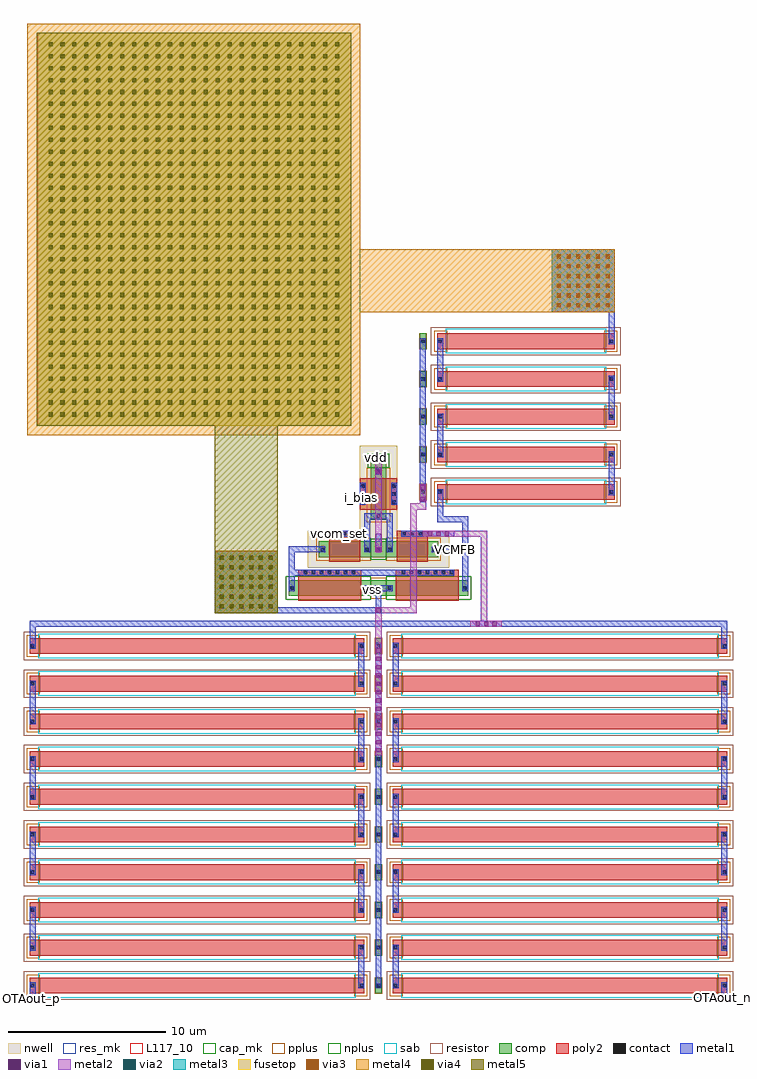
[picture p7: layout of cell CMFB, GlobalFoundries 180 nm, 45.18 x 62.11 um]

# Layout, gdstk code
from math import pi, radians
import gdstk
lib = gdstk.Library(unit=1e-6, precision=1e-09)
def R(c, l, rs):  # rectangles x0, y0, x1, y1
    for r in rs: c.add(gdstk.rectangle(r[:2], r[2:], *l))
def A(c, l, x, y, w, h, nx, ny, dx, dy):  # array of equal rectangles
    R(c, l, [(x+i*dx, y+j*dy, x+i*dx+w, y+j*dy+h) for i in range(nx) for j in range(ny)])
nwell = (21, 0)
comp = (22, 0)
poly2 = (30, 0)
pplus = (31, 0)
nplus = (32, 0)
contact = (33, 0)
metal1 = (34, 0)
via1 = (35, 0)
metal2 = (36, 0)
via2 = (38, 0)
via3 = (40, 0)
via4 = (41, 0)
metal3 = (42, 0)
metal4 = (46, 0)
sab = (49, 0)
resistor = (62, 0)
fusetop = (75, 0)
metal5 = (81, 0)
res_mk = (110, 5)
cap_mk = (117, 5)
L117_10 = (117, 10)

nfet_1_1 = lib.new_cell('nfet$1$1')
R(nfet_1_1, comp, [(-0.42,0,0,1), (0,0,4.38,1), (4.38,0,4.8,1), (4.8,0,5.51,1)])
R(nfet_1_1, poly2, [(0.19,-0.3,4.19,1.3), (0.19,1.3,4.19,1.66)])
R(nfet_1_1, pplus, [(4.8,-0.17,5.68,1.17)])
R(nfet_1_1, nplus, [(-0.59,-0.24,4.8,1.24)])
A(nfet_1_1, contact, 0.55, 1.37, 0.22, 0.22, 7, 1, 0.51, 0)
R(nfet_1_1, contact, [(-0.32,0.39,-0.1,0.61), (4.48,0.39,4.7,0.61), (5.19,0.39,5.41,0.61)])
R(nfet_1_1, metal1, [(-0.4,0.31,-0.02,0.69), (4.4,0.31,4.78,0.69), (5.11,0.31,5.49,0.69), (0.47,1.29,3.91,1.67)])

pfet_2 = lib.new_cell('pfet$2')
R(pfet_2, nwell, [(-1.15,-0.69,4.26,1.69)])
R(pfet_2, comp, [(-0.46,0,0,1), (0,0,2.38,1), (2.38,0,2.84,1), (2.84,0,3.57,1)])
R(pfet_2, poly2, [(0.19,-0.3,2.19,1.3), (0.19,1.3,2.19,1.68)])
R(pfet_2, pplus, [(-0.63,-0.24,2.84,1.24)])
R(pfet_2, nplus, [(2.84,-0.17,3.74,1.17)])
A(pfet_2, contact, 0.57, 1.38, 0.22, 0.22, 3, 1, 0.51, 0)
R(pfet_2, contact, [(-0.34,0.39,-0.12,0.61), (2.5,0.39,2.72,0.61), (3.23,0.39,3.45,0.61)])
R(pfet_2, metal1, [(-0.42,0.31,-0.04,0.69), (2.42,0.31,2.8,0.69), (3.15,0.31,3.53,0.69), (0.49,1.3,1.89,1.68)])

pfet_1_1 = lib.new_cell('pfet$1$1')
R(pfet_1_1, nwell, [(-1.15,-0.69,4.26,1.69)])
R(pfet_1_1, comp, [(-0.46,0,0,1), (0,0,2.38,1), (2.38,0,2.84,1), (2.84,0,3.57,1)])
R(pfet_1_1, poly2, [(0.19,-0.68,2.19,-0.3), (0.19,-0.3,2.19,1.3), (0.19,1.3,2.19,1.68)])
R(pfet_1_1, pplus, [(-0.63,-0.24,2.84,1.24)])
R(pfet_1_1, nplus, [(2.84,-0.17,3.74,1.17)])
A(pfet_1_1, contact, 0.57, -0.6, 0.22, 0.22, 3, 2, 0.51, 1.98)
R(pfet_1_1, contact, [(-0.34,0.39,-0.12,0.61), (2.5,0.39,2.72,0.61), (3.23,0.39,3.45,0.61)])
R(pfet_1_1, metal1, [(0.49,-0.68,1.89,-0.3), (-0.42,0.31,-0.04,0.69), (2.42,0.31,2.8,0.69), (3.15,0.31,3.53,0.69), (0.49,1.3,1.89,1.68)])

via_dev_29_1 = lib.new_cell('via_dev$29$1')
R(via_dev_29_1, metal1, [(0,0,0.4,0.4)])
R(via_dev_29_1, via1, [(0.07,0.07,0.33,0.33)])
R(via_dev_29_1, metal2, [(0,0,0.4,0.4)])

ppolyf_u_high_rs_resisto = lib.new_cell('ppolyf_u_high_Rs_resistor$3')
A(ppolyf_u_high_rs_resisto, comp, -1.76, 0, 0.42, 1, 1, 10, 0, 2.4)
A(ppolyf_u_high_rs_resisto, poly2, -0.64, 0, 21.28, 1, 1, 10, 0, 2.4)
A(ppolyf_u_high_rs_resisto, pplus, -0.82, -0.18, 0.82, 1.36, 1, 10, 0, 2.4)
A(ppolyf_u_high_rs_resisto, pplus, 20, -0.18, 0.82, 1.36, 1, 10, 0, 2.4)
A(ppolyf_u_high_rs_resisto, pplus, -1.78, -0.02, 0.46, 1.04, 1, 10, 0, 2.4)
A(ppolyf_u_high_rs_resisto, contact, -1.66, 0.39, 0.22, 0.22, 1, 10, 0, 2.4)
A(ppolyf_u_high_rs_resisto, contact, -0.57, 0.39, 0.22, 0.22, 1, 10, 0, 2.4)
A(ppolyf_u_high_rs_resisto, contact, 20.35, 0.39, 0.22, 0.22, 1, 10, 0, 2.4)
A(ppolyf_u_high_rs_resisto, metal1, -1.74, 0.31, 0.38, 0.38, 1, 10, 0, 2.4)
A(ppolyf_u_high_rs_resisto, metal1, -0.65, 0.31, 0.38, 0.38, 1, 10, 0, 2.4)
A(ppolyf_u_high_rs_resisto, metal1, 20.27, 0.31, 0.38, 0.38, 1, 10, 0, 2.4)
A(ppolyf_u_high_rs_resisto, sab, -0.1, -0.28, 20.2, 1.56, 1, 10, 0, 2.4)
A(ppolyf_u_high_rs_resisto, resistor, -1.04, -0.4, 22.08, 1.8, 1, 10, 0, 2.4)
A(ppolyf_u_high_rs_resisto, res_mk, 0, 0, 20, 1, 1, 10, 0, 2.4)

via_dev_1 = lib.new_cell('via_dev$1')
R(via_dev_1, metal1, [(0,0,0.4,7)])
A(via_dev_1, via1, 0.07, 0.19, 0.26, 0.26, 1, 13, 0, 0.53)
R(via_dev_1, metal2, [(0,0,0.4,7)])

via_dev_4_1_1 = lib.new_cell('via_dev$4$1$1')
R(via_dev_4_1_1, metal1, [(0,0,2,0.4)])
A(via_dev_4_1_1, via1, 0.34, 0.07, 0.26, 0.26, 3, 1, 0.53, 0)
R(via_dev_4_1_1, metal2, [(0,0,2,0.4)])

c_ppolyf_u_high_rs_resisto = lib.new_cell('ppolyf_u_high_Rs_resistor$2$1$1')
A(c_ppolyf_u_high_rs_resisto, comp, -1.76, 0, 0.42, 1, 1, 5, 0, 2.4)
A(c_ppolyf_u_high_rs_resisto, poly2, -0.64, 0, 11.28, 1, 1, 5, 0, 2.4)
A(c_ppolyf_u_high_rs_resisto, pplus, -0.82, -0.18, 0.82, 1.36, 1, 5, 0, 2.4)
A(c_ppolyf_u_high_rs_resisto, pplus, 10, -0.18, 0.82, 1.36, 1, 5, 0, 2.4)
A(c_ppolyf_u_high_rs_resisto, pplus, -1.78, -0.02, 0.46, 1.04, 1, 5, 0, 2.4)
A(c_ppolyf_u_high_rs_resisto, contact, -1.66, 0.39, 0.22, 0.22, 1, 5, 0, 2.4)
A(c_ppolyf_u_high_rs_resisto, contact, -0.57, 0.39, 0.22, 0.22, 1, 5, 0, 2.4)
A(c_ppolyf_u_high_rs_resisto, contact, 10.35, 0.39, 0.22, 0.22, 1, 5, 0, 2.4)
A(c_ppolyf_u_high_rs_resisto, metal1, -1.74, 0.31, 0.38, 0.38, 1, 5, 0, 2.4)
A(c_ppolyf_u_high_rs_resisto, metal1, -0.65, 0.31, 0.38, 0.38, 1, 5, 0, 2.4)
A(c_ppolyf_u_high_rs_resisto, metal1, 10.27, 0.31, 0.38, 0.38, 1, 5, 0, 2.4)
A(c_ppolyf_u_high_rs_resisto, sab, -0.1, -0.28, 10.2, 1.56, 1, 5, 0, 2.4)
A(c_ppolyf_u_high_rs_resisto, resistor, -1.04, -0.4, 12.08, 1.8, 1, 5, 0, 2.4)
A(c_ppolyf_u_high_rs_resisto, res_mk, 0, 0, 10, 1, 1, 5, 0, 2.4)

cap_mim_4_1 = lib.new_cell('cap_mim$4$1')
A(cap_mim_4_1, via4, 0.59, 0.75, 0.26, 0.26, 32, 25, 0.76, 0.76)
R(cap_mim_4_1, metal4, [(-0.6,-0.6,25.6,20.6)])
R(cap_mim_4_1, fusetop, [(0,0,25,20)])
R(cap_mim_4_1, metal5, [(0,0,25,20)])
R(cap_mim_4_1, cap_mk, [(-0.6,-0.6,25.6,20.6)])
R(cap_mim_4_1, L117_10, [(0,0,25,0.1)])

via_dev_7_1_1 = lib.new_cell('via_dev$7$1$1')
R(via_dev_7_1_1, metal1, [(0,0,4,4)])
A(via_dev_7_1_1, via1, 0.32, 0.32, 0.26, 0.26, 6, 6, 0.62, 0.62)
R(via_dev_7_1_1, metal2, [(0,0,4,4)])
A(via_dev_7_1_1, via2, 0.32, 0.32, 0.26, 0.26, 6, 6, 0.62, 0.62)
A(via_dev_7_1_1, via3, 0.32, 0.32, 0.26, 0.26, 6, 6, 0.62, 0.62)
R(via_dev_7_1_1, metal3, [(0,0,4,4)])
R(via_dev_7_1_1, metal4, [(0,0,4,4)])

via_dev_5_1_1 = lib.new_cell('via_dev$5$1$1')
R(via_dev_5_1_1, metal1, [(0,0,4,4)])
A(via_dev_5_1_1, via1, 0.32, 0.32, 0.26, 0.26, 6, 6, 0.62, 0.62)
R(via_dev_5_1_1, metal2, [(0,0,4,4)])
A(via_dev_5_1_1, via2, 0.32, 0.32, 0.26, 0.26, 6, 6, 0.62, 0.62)
A(via_dev_5_1_1, via3, 0.32, 0.32, 0.26, 0.26, 6, 6, 0.62, 0.62)
A(via_dev_5_1_1, via4, 0.32, 0.32, 0.26, 0.26, 6, 6, 0.62, 0.62)
R(via_dev_5_1_1, metal3, [(0,0,4,4)])
R(via_dev_5_1_1, metal4, [(0,0,4,4)])
R(via_dev_5_1_1, metal5, [(0,0,4,4)])

cmfb = lib.new_cell('CMFB')
R(cmfb, metal1, [(7.3,6.84,7.7,7.57)])
R(cmfb, metal4, [(1.05,18.52,16.1,22.52)])
R(cmfb, metal5, [(-5.75,3.19,-1.75,11.53)])
cmfb.add(gdstk.FlexPath([(4.67,3.44),(4.67,4.42)], 0.38, ends="flush", simple_path=True, layer=34, datatype=0))  # metal1
cmfb.add(gdstk.FlexPath([(26.68,-5.11),(26.68,-7.51)], 0.38, ends="flush", simple_path=True, layer=34, datatype=0))  # metal1
cmfb.add(gdstk.FlexPath([(26.68,-9.92),(26.68,-12.32)], 0.38, ends="flush", simple_path=True, layer=34, datatype=0))  # metal1
cmfb.add(gdstk.FlexPath([(26.68,-14.76),(26.68,-17.16)], 0.38, ends="flush", simple_path=True, layer=34, datatype=0))  # metal1
cmfb.add(gdstk.FlexPath([(26.68,-19.57),(26.68,-21.97)], 0.38, ends="flush", simple_path=True, layer=34, datatype=0))  # metal1
cmfb.add(gdstk.FlexPath([(5.76,-2.72),(5.76,-5.12)], 0.38, ends="flush", simple_path=True, layer=34, datatype=0))  # metal1
cmfb.add(gdstk.FlexPath([(5.76,-7.53),(5.76,-9.93)], 0.38, ends="flush", simple_path=True, layer=34, datatype=0))  # metal1
cmfb.add(gdstk.FlexPath([(5.76,-12.37),(5.76,-14.77)], 0.38, ends="flush", simple_path=True, layer=34, datatype=0))  # metal1
cmfb.add(gdstk.FlexPath([(5.76,-17.18),(5.76,-19.58)], 0.38, ends="flush", simple_path=True, layer=34, datatype=0))  # metal1
cmfb.add(gdstk.FlexPath([(5.76,-21.91),(5.76,-24.31)], 0.38, ends="flush", simple_path=True, layer=34, datatype=0))  # metal1
cmfb.add(gdstk.FlexPath([(-17.34,-5.11),(-17.34,-7.51)], 0.38, ends="flush", simple_path=True, layer=34, datatype=0))  # metal1
cmfb.add(gdstk.FlexPath([(-17.34,-9.92),(-17.34,-12.32)], 0.38, ends="flush", simple_path=True, layer=34, datatype=0))  # metal1
cmfb.add(gdstk.FlexPath([(-17.34,-14.76),(-17.34,-17.16)], 0.38, ends="flush", simple_path=True, layer=34, datatype=0))  # metal1
cmfb.add(gdstk.FlexPath([(-17.34,-19.57),(-17.34,-21.97)], 0.38, ends="flush", simple_path=True, layer=34, datatype=0))  # metal1
cmfb.add(gdstk.FlexPath([(3.58,-2.72),(3.58,-5.12)], 0.38, ends="flush", simple_path=True, layer=34, datatype=0))  # metal1
cmfb.add(gdstk.FlexPath([(3.58,-7.53),(3.58,-9.93)], 0.38, ends="flush", simple_path=True, layer=34, datatype=0))  # metal1
cmfb.add(gdstk.FlexPath([(3.58,-12.37),(3.58,-14.77)], 0.38, ends="flush", simple_path=True, layer=34, datatype=0))  # metal1
cmfb.add(gdstk.FlexPath([(3.58,-17.18),(3.58,-19.58)], 0.38, ends="flush", simple_path=True, layer=34, datatype=0))  # metal1
cmfb.add(gdstk.FlexPath([(3.58,-21.91),(3.58,-24.31)], 0.38, ends="flush", simple_path=True, layer=34, datatype=0))  # metal1
cmfb.add(gdstk.FlexPath([(26.68,-2.71),(26.68,-1.29),(12.07,-1.29)], 0.38, ends="flush", simple_path=True, layer=34, datatype=0))  # metal1
cmfb.add(gdstk.FlexPath([(-17.34,-2.71),(-17.34,-1.29),(12.37,-1.29)], 0.38, ends="flush", simple_path=True, layer=34, datatype=0))  # metal1
cmfb.add(gdstk.FlexPath([(4.67,-2.71),(4.67,-24.31)], 0.38, ends="flush", simple_path=True, layer=34, datatype=0))  # metal1
cmfb.add(gdstk.FlexPath([(-17.34,-24.31),(-17.34,-25.21)], 0.38, ends="flush", simple_path=True, layer=34, datatype=0))  # metal1
cmfb.add(gdstk.FlexPath([(26.68,-24.31),(26.68,-25.21)], 0.38, ends="flush", simple_path=True, layer=34, datatype=0))  # metal1
cmfb.add(gdstk.FlexPath([(8.24,3.44),(10.18,3.44),(10.18,0.97)], 0.38, ends="flush", simple_path=True, layer=34, datatype=0))  # metal1
cmfb.add(gdstk.FlexPath([(1.1,3.44),(-0.84,3.44),(-0.84,0.97)], 0.38, ends="flush", simple_path=True, layer=34, datatype=0))  # metal1
cmfb.add(gdstk.FlexPath([(3.96,0.97),(5.38,0.97)], 0.38, ends="flush", simple_path=True, layer=34, datatype=0))  # metal1
cmfb.add(gdstk.FlexPath([(3.94,3.44),(3.94,5.55),(5.4,5.55),(5.4,3.44)], 0.38, ends="flush", simple_path=True, layer=34, datatype=0))  # metal1
cmfb.add(gdstk.FlexPath([(6.25,1.95),(-0.84,1.95)], 0.38, ends="flush", simple_path=True, layer=34, datatype=0))  # metal1
cmfb.add(gdstk.FlexPath([(7.5,7.08),(7.5,16.68)], 0.38, ends="flush", simple_path=True, layer=34, datatype=0))  # metal1
cmfb.add(gdstk.FlexPath([(8.59,7.08),(8.59,5.36),(10.18,5.36),(10.18,2.9)], 0.38, ends="flush", simple_path=True, layer=34, datatype=0))  # metal1
cmfb.add(gdstk.FlexPath([(8.59,9.59),(8.59,11.88)], 0.38, ends="flush", simple_path=True, layer=34, datatype=0))  # metal1
cmfb.add(gdstk.FlexPath([(8.59,14.39),(8.59,16.68)], 0.38, ends="flush", simple_path=True, layer=34, datatype=0))  # metal1
cmfb.add(gdstk.FlexPath([(19.51,14.39),(19.51,11.77)], 0.38, ends="flush", simple_path=True, layer=34, datatype=0))  # metal1
cmfb.add(gdstk.FlexPath([(19.51,9.59),(19.51,7.08)], 0.38, ends="flush", simple_path=True, layer=34, datatype=0))  # metal1
cmfb.add(gdstk.FlexPath([(19.51,16.68),(19.51,20.98)], 0.38, ends="flush", simple_path=True, layer=34, datatype=0))  # metal1
cmfb.add(gdstk.FlexPath([(4.67,0.97),(4.67,-0.45),(-4.16,-0.45),(-4.16,-0.45)], 0.38, ends="flush", simple_path=True, layer=34, datatype=0))  # metal1
cmfb.add(gdstk.FlexPath([(4.67,-3),(4.67,-0.44)], 0.4, ends="flush", simple_path=True, layer=36, datatype=0))  # metal2
cmfb.add(gdstk.FlexPath([(7.5,7.37),(7.5,6.17),(6.9,6.17),(6.9,-0.44),(4.67,-0.44)], 0.4, ends="flush", simple_path=True, layer=36, datatype=0))  # metal2
cmfb.add(gdstk.FlexPath([(7.64,4.43),(11.39,4.43),(11.39,-1.3)], 0.4, ends="flush", simple_path=True, layer=36, datatype=0))  # metal2
cmfb.add(gdstk.FlexPath([(4.67,9.12),(4.67,3.44)], 0.4, ends="flush", simple_path=True, layer=36, datatype=0))  # metal2
cmfb.add(gdstk.Reference(nfet_1_1, (-0.63,0.47)))
cmfb.add(gdstk.Reference(pfet_2, (1.33,2.94)))
cmfb.add(gdstk.Reference(pfet_1_1, (4.17,5.78), rotation=pi/2, x_reflection=True))
cmfb.add(gdstk.Reference(nfet_1_1, (9.97,0.47), rotation=pi, x_reflection=True))
cmfb.add(gdstk.Reference(pfet_2, (8.01,2.94), rotation=pi, x_reflection=True))
cmfb.add(gdstk.Reference(via_dev_29_1, (4.47,3.24)))
cmfb.add(gdstk.Reference(ppolyf_u_high_rs_resisto, (6.22,-24.81)))
cmfb.add(gdstk.Reference(ppolyf_u_high_rs_resisto, (3.12,-24.81), rotation=pi, x_reflection=True))
cmfb.add(gdstk.Reference(via_dev_1, (4.47,-9.68)))
cmfb.add(gdstk.Reference(via_dev_4_1_1, (10.52,-1.5)))
cmfb.add(gdstk.Reference(via_dev_4_1_1, (7.49,4.23)))
cmfb.add(gdstk.Reference(c_ppolyf_u_high_rs_resisto, (9.05,6.58)))
cmfb.add(gdstk.Reference(cap_mim_4_1, (-17.08,36.3), rotation=3*pi/2))
cmfb.add(gdstk.Reference(via_dev_7_1_1, (15.7,18.52)))
cmfb.add(gdstk.Reference(via_dev_5_1_1, (-5.75,-0.64)))
cmfb.add(gdstk.Reference(via_dev_29_1, (4.47,-0.64)))
cmfb.add(gdstk.Reference(via_dev_29_1, (4.47,8.92)))
cmfb.add(gdstk.Reference(via_dev_29_1, (4.47,8.19)))
cmfb.add(gdstk.Reference(via_dev_29_1, (7.3,7.17)))
cmfb.add(gdstk.Reference(via_dev_29_1, (7.3,6.44)))
cmfb.add(gdstk.Label('VCMFB', (9.57,3.44), layer=34, texttype=10))
cmfb.add(gdstk.Label('OTAout_p', (-17.42,-25.14), layer=34, texttype=10))
cmfb.add(gdstk.Label('OTAout_n', (26.59,-25.11), layer=34, texttype=10))
cmfb.add(gdstk.Label('vdd', (4.54,9.25), layer=34, texttype=10))
cmfb.add(gdstk.Label('vss', (4.29,0.88), layer=34, texttype=10))
cmfb.add(gdstk.Label('vcom_set', (2.2,4.44), layer=34, texttype=10))
cmfb.add(gdstk.Label('i_bias', (3.61,6.71), layer=34, texttype=10))

lib.write_gds('CMFB.gds')
